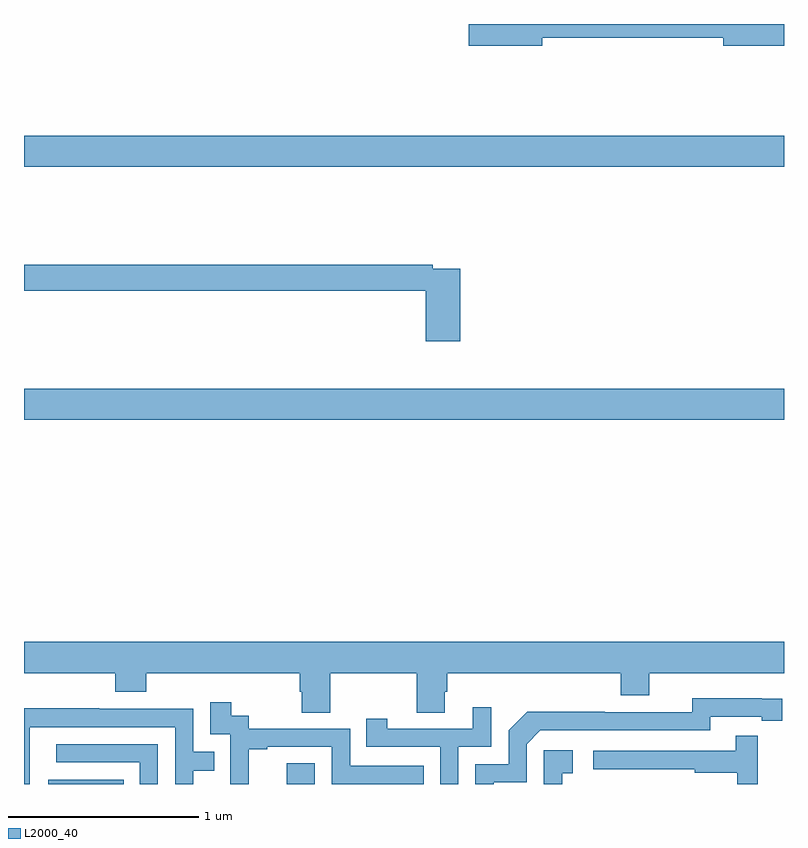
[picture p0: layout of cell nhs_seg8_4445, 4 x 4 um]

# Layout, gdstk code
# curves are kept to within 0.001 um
import gdstk
lib = gdstk.Library(unit=1e-6, precision=1e-09)
def R(c, l, rs):  # rectangles x0, y0, x1, y1
    for r in rs: c.add(gdstk.rectangle(r[:2], r[2:], *l))
def P(c, l, *ps):  # polygons
    for p in ps: c.add(gdstk.Polygon(p, *l))
L2000_40 = (2000, 40)

nhs_seg8_4445 = lib.new_cell('nhs_seg8_4445')
R(nhs_seg8_4445, L2000_40, [(381.128,1131.9,381.524,1131.922), (382.383,1131.9,382.53,1132.009), (381,1133.816,385,1133.98), (381,1135.148,385,1135.312)])
P(nhs_seg8_4445, L2000_40, [(383.728,1135.828),(384.68,1135.828),(384.68,1135.786),(385,1135.786),(385,1135.9),(383.34,1135.9),(383.34,1135.786),(383.728,1135.786)],
  [(383.297,1134.612),(383.15,1134.612),(383.15,1134.632),(381,1134.632),(381,1134.496),(383.114,1134.496),(383.114,1134.231),(383.297,1134.231)],
  [(382.611,1132.484),(383.068,1132.484),(383.068,1132.276),(383.215,1132.276),(383.215,1132.386),(383.228,1132.386),(383.228,1132.484),(384.14,1132.484),(384.14,1132.367),(384.292,1132.367),(384.292,1132.484),(385,1132.484),(385,1132.648),(381,1132.648),(381,1132.484),(381.479,1132.484),(381.479,1132.385),(381.644,1132.385),(381.644,1132.484),(382.451,1132.484),(382.451,1132.386),(382.463,1132.386),(382.463,1132.276),(382.611,1132.276)],
  [(383.473,1131.909),(383.646,1131.909),(383.646,1132.11),(383.718,1132.182),(384.612,1132.182),(384.612,1132.254),(384.884,1132.254),(384.884,1132.234),(384.992,1132.234),(384.992,1132.35),(384.516,1132.351),(384.516,1132.278),(384.056,1132.278),(384.056,1132.28),(383.648,1132.28),(383.55,1132.182),(383.55,1132.005),(383.376,1132.005),(383.376,1131.9),(383.473,1131.9)],
  [(382.184,1132.083),(382.279,1132.083),(382.279,1132.095),(382.62,1132.095),(382.62,1131.9),(383.105,1131.9),(383.105,1131.996),(382.716,1131.996),(382.716,1132.191),(382.182,1132.191),(382.182,1132.26),(382.09,1132.26),(382.09,1132.33),(381.981,1132.33),(381.981,1132.161),(382.086,1132.161),(382.086,1131.932),(382.085,1131.932),(382.085,1131.9),(382.184,1131.9)],
  [(383.286,1132.095),(383.46,1132.095),(383.46,1132.303),(383.363,1132.303),(383.363,1132.191),(382.912,1132.191),(382.912,1132.243),(382.801,1132.243),(382.801,1132.095),(383.19,1132.095),(383.19,1131.9),(383.286,1131.9)],
  [(381.03,1131.985),(381.031,1131.985),(381.031,1132.2),(381.795,1132.2),(381.795,1131.9),(381.891,1131.9),(381.891,1131.97),(382.001,1131.97),(382.001,1132.071),(381.891,1132.071),(381.891,1132.296),(381.395,1132.296),(381.395,1132.298),(381,1132.298),(381,1131.9),(381.03,1131.9)],
  [(384.863,1132.153),(384.745,1132.153),(384.745,1132.074),(383.997,1132.074),(383.997,1131.978),(384.529,1131.978),(384.529,1131.958),(384.753,1131.958),(384.753,1131.9),(384.863,1131.9)],
  [(381.705,1132.11),(381.171,1132.11),(381.171,1132.014),(381.609,1132.014),(381.609,1131.9),(381.705,1131.9)],
  [(383.834,1131.957),(383.887,1131.957),(383.887,1132.078),(383.736,1132.078),(383.736,1131.9),(383.834,1131.9)])

lib.write_gds('nhs_seg8_4445.gds')
